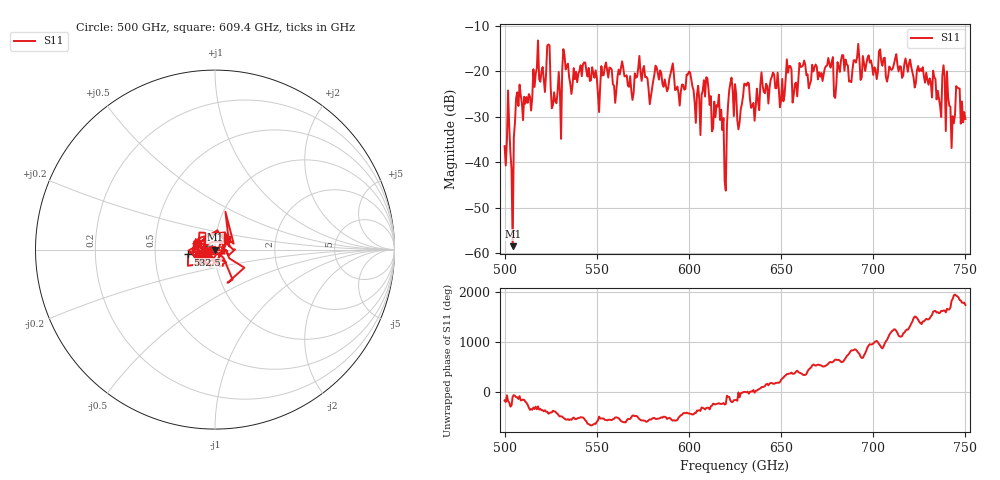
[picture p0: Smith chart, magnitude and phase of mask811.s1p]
!Created with skrf (http://scikit-rf.org).
# GHz S MA R 50.0
!freq magS11 angS11
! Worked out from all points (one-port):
!   401 points, 500 GHz to 750 GHz, reference 50 ohm
!   lowest |S11| = -58.5 dB at 504.4 GHz (marker M1), VSWR 1.00, Z = 50 - j0.119 ohm
!   |S11| at or under -10 dB: start of sweep to end of sweep
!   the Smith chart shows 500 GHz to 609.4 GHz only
!   S11 on the Smith chart (normalised r, x): 500 GHz: 0.97, -0.01; 532.5 GHz: 0.74, -0.04; 609.4 GHz: 1.13, +0.13
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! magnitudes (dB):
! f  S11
! 500 GHz  -36.5
! 502.5 GHz  -32.0
! 504.4 GHz  -58.5
! 507.5 GHz  -27.6
! 513.8 GHz  -25.5
! 516.9 GHz  -20.5
! 523.8 GHz  -14.1
! 526.9 GHz  -24.6
! 531.2 GHz  -19.6
! 532.5 GHz  -16.3
! 550.6 GHz  -24.9
! 562.5 GHz  -20.7
! 579.4 GHz  -25.5
! 590.6 GHz  -19.5
! 593.8 GHz  -23.4
! 600 GHz  -20.1
! 605 GHz  -23.2
! 609.4 GHz  -21.3
! 617.5 GHz  -28.5
! 619.4 GHz  -44.1
! 622.5 GHz  -22.5
! 625 GHz  -22.8
! 656.2 GHz  -26.9
! 687.5 GHz  -22.2
! 690.6 GHz  -18.1
! 718.8 GHz  -20.1
! 745.6 GHz  -23.6
! 750 GHz  -30.5
